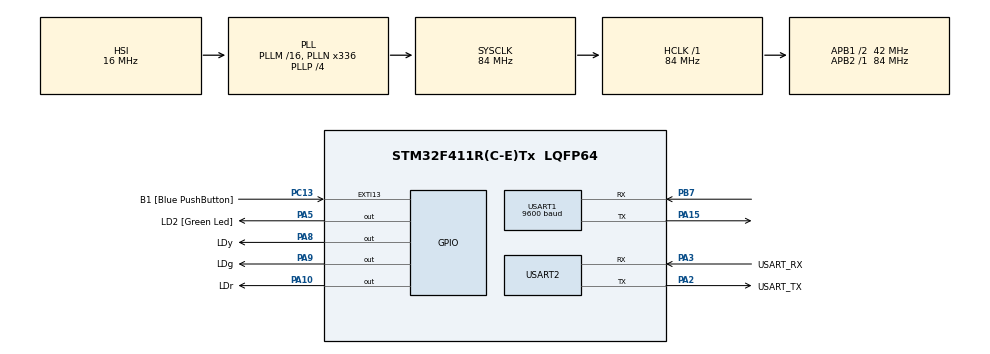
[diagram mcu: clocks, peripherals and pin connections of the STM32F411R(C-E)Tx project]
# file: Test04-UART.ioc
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Dma.Request0=USART2_RX
Dma.USART2_RX.0.Direction=DMA_PERIPH_TO_MEMORY
Dma.USART2_RX.0.FIFOMode=DMA_FIFOMODE_DISABLE
Dma.USART2_RX.0.Instance=DMA1_Stream5
Dma.USART2_RX.0.MemDataAlignment=DMA_MDATAALIGN_BYTE
Dma.USART2_RX.0.MemInc=DMA_MINC_ENABLE
Dma.USART2_RX.0.Mode=DMA_CIRCULAR
Dma.USART2_RX.0.PeriphDataAlignment=DMA_PDATAALIGN_BYTE
Dma.USART2_RX.0.PeriphInc=DMA_PINC_DISABLE
Dma.USART2_RX.0.Priority=DMA_PRIORITY_LOW
Mcu.Family=STM32F4
Mcu.Name=STM32F411R(C-E)Tx
Mcu.Package=LQFP64
NVIC.DMA1_Stream5_IRQn=true\:0\:0\:false\:false\:true\:false\:true\:true
NVIC.EXTI15_10_IRQn=true\:0\:0\:false\:false\:true\:true\:true\:true
NVIC.PriorityGroup=NVIC_PRIORITYGROUP_4
NVIC.TIM3_IRQn=true\:0\:0\:false\:false\:true\:true\:true\:true
NVIC.USART1_IRQn=true\:0\:0\:false\:false\:true\:true\:true\:true
NVIC.USART2_IRQn=true\:0\:0\:false\:false\:true\:true\:true\:true
PA10.GPIO_Label=LDr
PA10.Signal=GPIO_Output
PA13.GPIO_Label=TMS
PA13.Mode=Serial_Wire
PA13.Signal=SYS_JTMS-SWDIO
PA14.GPIO_Label=TCK
PA14.Mode=Serial_Wire
PA14.Signal=SYS_JTCK-SWCLK
PA15.Mode=Asynchronous
PA15.Signal=USART1_TX
PA2.GPIO_Label=USART_TX
PA2.Mode=Asynchronous
PA2.Signal=USART2_TX
PA3.GPIO_Label=USART_RX
PA3.Mode=Asynchronous
PA3.Signal=USART2_RX
PA5.GPIO_Label=LD2 [Green Led]
PA5.Signal=GPIO_Output
PA8.GPIO_Label=LDy
PA8.Signal=GPIO_Output
PA9.GPIO_Label=LDg
PA9.Signal=GPIO_Output
PB3.GPIO_Label=SWO
PB3.Signal=SYS_JTDO-SWO
PB7.Mode=Asynchronous
PB7.Signal=USART1_RX
PC13-ANTI_TAMP.GPIO_Label=B1 [Blue PushButton]
PC13-ANTI_TAMP.GPIO_ModeDefaultEXTI=GPIO_MODE_IT_FALLING
PC13-ANTI_TAMP.Signal=GPXTI13
PC14-OSC32_IN.Mode=LSE-External-Oscillator
PC14-OSC32_IN.Signal=RCC_OSC32_IN
PC15-OSC32_OUT.Mode=LSE-External-Oscillator
PC15-OSC32_OUT.Signal=RCC_OSC32_OUT
PH0\ -\ OSC_IN.Mode=HSE-External-Clock-Source
PH0\ -\ OSC_IN.Signal=RCC_OSC_IN
PH1\ -\ OSC_OUT.Mode=HSE-External-Clock-Source
PH1\ -\ OSC_OUT.Signal=RCC_OSC_OUT
ProjectManager.HeapSize=0x200
ProjectManager.StackSize=0x400
ProjectManager.TargetToolchain=STM32CubeIDE
RCC.48MHZClocksFreq_Value=84000000
RCC.AHBFreq_Value=84000000
RCC.APB1CLKDivider=RCC_HCLK_DIV2
RCC.APB1Freq_Value=42000000
RCC.APB1TimFreq_Value=84000000
RCC.APB2Freq_Value=84000000
RCC.APB2TimFreq_Value=84000000
RCC.CortexFreq_Value=84000000
RCC.FLatency-AdvancedSettings=FLASH_LATENCY_2
RCC.HCLKFreq_Value=84000000
RCC.HSE_VALUE=8000000
RCC.HSI_VALUE=16000000
RCC.PLLN=336
RCC.PLLP=RCC_PLLP_DIV4
RCC.SYSCLKFreq_VALUE=84000000
RCC.SYSCLKSource=RCC_SYSCLKSOURCE_PLLCLK
RCC.VCOOutputFreq_Value=336000000
TIM3.Period=10000-1
TIM3.Prescaler=8400-1
USART1.BaudRate=9600
USART1.VirtualMode=VM_ASYNC
USART2.VirtualMode=VM_ASYNC
VP_TIM3_VS_ClockSourceINT.Mode=Internal
board=NUCLEO-F411RE

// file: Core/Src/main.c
/* USER CODE BEGIN Header */
/** 깃허브 파일 확인
  ******************************************************************************
  * @file           : main.c
  * @brief          : HAMAN
  ******************************************************************************
  * @attention
  *
  * Copyright (c) 2023 STMicroelectronics.
  * All rights reserved.
  *
  * This software is licensed under terms that can be found in the LICENSE file
  * in the root directory of this software component.
  * If no LICENSE file comes with this software, it is provided AS-IS.
  *
  ******************************************************************************
  */
/* USER CODE END Header */
#include "main.h"

/* USER CODE BEGIN PD */
#define RX_BUF_SIZE  40
/* USER CODE END PD */

TIM_HandleTypeDef htim3;

UART_HandleTypeDef huart1;
UART_HandleTypeDef huart2;
DMA_HandleTypeDef hdma_usart2_rx;

void SystemClock_Config(void);
static void MX_GPIO_Init(void);
static void MX_DMA_Init(void);
static void MX_USART2_UART_Init(void);
static void MX_USART1_UART_Init(void);
static void MX_TIM3_Init(void);

/* USER CODE BEGIN 0 */
int __io_putchar(int ch)  // printf
{
    HAL_UART_Transmit(&huart2, &ch, 1, 10);
    return ch;
}
int __io_getchar(void)  // console input (scanf)
{
    char ch = 0;

    //while(HAL_UART_Receive(&huart2, &ch, 1, 10) != HAL_OK);
    while(1)
    {
        HAL_StatusTypeDef r = HAL_UART_Receive(&huart2, &ch, 1, 10);
        if(r == HAL_OK) break;
    }
    HAL_UART_Transmit(&huart2, &ch, 1, 10);  // echo
    return ch;
}
int scanfEx1(int *k)  // INT VALUE
{
    unsigned char buf[10], c;
    int idx = 0;

    while(1)
    {
        c = __io_getchar();
        if(c == 0x0d) break;
        if(c < '0' || c > '9') break;
        if(idx > 9) break;
        buf[idx++] = c;
    }
    buf[idx] = 0;
    *k = atoi(buf);
    return 1;
}
int GetKey()  // interface function
{
    return __io_getchar();
}
char rxBuf1[RX_BUF_SIZE], rx;  //UART1
char rxBuf2[RX_BUF_SIZE];      //UART2
char dmaBuf[RX_BUF_SIZE];
int  head = 0, tail = 0;
int  rxIdx1 = 0 ,rxIdx2=0;
int op = -1; // 0 ~ 3 : NULL ,CR ,CRLF ,LFCR
char *EL[] = { "\0" ,"\r" ,"\r\n" ,"\n\r" };

char * GetDmaData() // uart2
{
    int len = 0;
    tail = RX_BUF_SIZE - huart2.hdmarx->Instance->NDTR;

    if(head == tail) return 0;
    if(tail > head)
    {
        memcpy(dmaBuf, rxBuf2 + head, tail - head); len = tail - head;
    }
    else // tail < head
    {
        memcpy(dmaBuf, rxBuf2 + head, RX_BUF_SIZE - head);
        memcpy(dmaBuf + RX_BUF_SIZE - head, rxBuf2, tail);
        len = RX_BUF_SIZE - head + tail;
    }
    dmaBuf[len] = 0;
    head = tail;
    return dmaBuf;
}

void HAL_UART_RxCpltCallback(UART_HandleTypeDef *huart)
{
    if(huart == &huart1)
    {
        rxBuf1[rxIdx1++] = rx;
        if(rx == '\0' || rx == '\r' || rx == '\n')
        {
          HAL_UART_Transmit(&huart2, rxBuf1, rxIdx1, 10);
          HAL_UART_Transmit(&huart2, "\r\n", 2, 10);            //putty display out
          rxIdx1 = 0;
        }
    }
    else if(huart == &huart2)
    {
        rxBuf2[rxIdx2++] = rx;
        if(rx == '\0' || rx == '\r' || rx == '\n') //BT > AT ??
        {
          if(strncmp(rxBuf2 ,"BT>" ,3) == 0)
          {
            HAL_UART_Transmit(&huart1, rxBuf2 + 3, rxIdx2 - 4 ,10);
            if(op>0) HAL_UART_Transmit(&huart1, EL[op], strlen(EL[op]), 10);
            HAL_UART_Transmit(&huart2, rxBuf2 + 3, rxIdx2 - 4 ,10);
            HAL_UART_Transmit(&huart2, "\r\n",2, 10);
          }
          else
          {
            HAL_UART_Transmit(&huart2, rxBuf2 + 3, rxIdx2 - 4 ,10);
            HAL_UART_Transmit(&huart2, "\r\n", 2, 10);
          }
          rxIdx2 = 0;
        }
    }
     HAL_UART_Receive_IT(huart, &rx, 1);
}
void HAL_TIM_PeriodElapsedCallback(TIM_HandleTypeDef *htim)
{
      //char *str = GetDmaData();  // str = NULL, if no data
      if(rxIdx1)
      {
          printf("%s\r\n", rxBuf1); rxIdx1 = 0;
      }
}

void HAL_GPIO_EXTI_Callback(uint16_t GPIO_Pin)
{
    if(GPIO_Pin == B1_Pin)
    {
      char *str = GetDmaData();  // str = NULL, if no data
      if(str)
      {
          printf("[Receive Buffer] %s\r\n", rxBuf2);
          printf("[Receive String] %s\r\n\n", str);
      }
    }
}

void LED_CONTROL()
{
      int k = GetKey();
      switch(k)
      {
      case 'r':
      case 'R':
          HAL_GPIO_WritePin(LDr_GPIO_Port, LDr_Pin, 1); HAL_Delay(200);
          HAL_GPIO_WritePin(LDr_GPIO_Port, LDr_Pin, 0); HAL_Delay(200);
          break;
      case 'g':
      case 'G':
          HAL_GPIO_WritePin(LDg_GPIO_Port, LDg_Pin, 1); HAL_Delay(200);
          HAL_GPIO_WritePin(LDg_GPIO_Port, LDg_Pin, 0); HAL_Delay(200);
          break;
      case 'y':
      case 'Y':
          HAL_GPIO_WritePin(LDy_GPIO_Port, LDy_Pin, 1); HAL_Delay(200);
          HAL_GPIO_WritePin(LDy_GPIO_Port, LDy_Pin, 0); HAL_Delay(200);
          break;
      default:
          break;
      }
}
/* USER CODE END 0 */

int main(void)
{

  /* MCU Configuration--------------------------------------------------------*/

  /* Reset of all peripherals, Initializes the Flash interface and the Systick. */
  HAL_Init();

  /* Configure the system clock */
  SystemClock_Config();

  /* Initialize all configured peripherals */
  MX_GPIO_Init();
  MX_DMA_Init();
  MX_USART2_UART_Init();
  MX_USART1_UART_Init();
  MX_TIM3_Init();
  /* USER CODE BEGIN 2 */

  printf("\033[1J\033[1;1HUART Program Started....\r\n");
  while(1)
  {
      printf("Input End-Line option\r\n");
      printf("  '0' : NULL\r\n");
      printf("  '1' : CR\r\n");
      printf("  '2' : CRLF\r\n");
      printf("  '3' : LFCR\r\n");

      scanfEx1(&op);
      if(op >= 0 && op < 4) break;
  }
  printf("OK....%d\r\n",op);

  HAL_TIM_Base_Start_IT(&htim3);
  //HAL_UART_Receive_DMA(&huart2, rxBuf, RX_BUF_SIZE);
  HAL_UART_Receive_IT(&huart2, &rx, 1);
  HAL_UART_Receive_IT(&huart1, &rx, 1);
  /* USER CODE END 2 */

  /* Infinite loop */
  while (1)
  {

    /* USER CODE BEGIN 3 */
    // LED_CONTROL();  // LED Toggle by KBD
    //  if(rxIdx)
    //  {
    //    rxBuf[rxIdx] = 0;
    //    printf("[Received String] %s\r\n", rxBuf);
    //    rxIdx = 0;
    //  }
  }
  /* USER CODE END 3 */
}

void SystemClock_Config(void)
{
  RCC_OscInitTypeDef RCC_OscInitStruct = {0};
  RCC_ClkInitTypeDef RCC_ClkInitStruct = {0};

  /** Configure the main internal regulator output voltage
  */
  __HAL_RCC_PWR_CLK_ENABLE();
  __HAL_PWR_VOLTAGESCALING_CONFIG(PWR_REGULATOR_VOLTAGE_SCALE1);

  /** Initializes the RCC Oscillators according to the specified parameters
  * in the RCC_OscInitTypeDef structure.
  */
  RCC_OscInitStruct.OscillatorType = RCC_OSCILLATORTYPE_HSI;
  RCC_OscInitStruct.HSIState = RCC_HSI_ON;
  RCC_OscInitStruct.HSICalibrationValue = RCC_HSICALIBRATION_DEFAULT;
  RCC_OscInitStruct.PLL.PLLState = RCC_PLL_ON;
  RCC_OscInitStruct.PLL.PLLSource = RCC_PLLSOURCE_HSI;
  RCC_OscInitStruct.PLL.PLLM = 16;
  RCC_OscInitStruct.PLL.PLLN = 336;
  RCC_OscInitStruct.PLL.PLLP = RCC_PLLP_DIV4;
  RCC_OscInitStruct.PLL.PLLQ = 4;
  if (HAL_RCC_OscConfig(&RCC_OscInitStruct) != HAL_OK)
  {
    Error_Handler();
  }

  /** Initializes the CPU, AHB and APB buses clocks
  */
  RCC_ClkInitStruct.ClockType = RCC_CLOCKTYPE_HCLK|RCC_CLOCKTYPE_SYSCLK
                              |RCC_CLOCKTYPE_PCLK1|RCC_CLOCKTYPE_PCLK2;
  RCC_ClkInitStruct.SYSCLKSource = RCC_SYSCLKSOURCE_PLLCLK;
  RCC_ClkInitStruct.AHBCLKDivider = RCC_SYSCLK_DIV1;
  RCC_ClkInitStruct.APB1CLKDivider = RCC_HCLK_DIV2;
  RCC_ClkInitStruct.APB2CLKDivider = RCC_HCLK_DIV1;

  if (HAL_RCC_ClockConfig(&RCC_ClkInitStruct, FLASH_LATENCY_2) != HAL_OK)
  {
    Error_Handler();
  }
}

static void MX_TIM3_Init(void)
{

  TIM_ClockConfigTypeDef sClockSourceConfig = {0};
  TIM_MasterConfigTypeDef sMasterConfig = {0};

  htim3.Instance = TIM3;
  htim3.Init.Prescaler = 8400-1;
  htim3.Init.CounterMode = TIM_COUNTERMODE_UP;
  htim3.Init.Period = 10000-1;
  htim3.Init.ClockDivision = TIM_CLOCKDIVISION_DIV1;
  htim3.Init.AutoReloadPreload = TIM_AUTORELOAD_PRELOAD_DISABLE;
  if (HAL_TIM_Base_Init(&htim3) != HAL_OK)
  {
    Error_Handler();
  }
  sClockSourceConfig.ClockSource = TIM_CLOCKSOURCE_INTERNAL;
  if (HAL_TIM_ConfigClockSource(&htim3, &sClockSourceConfig) != HAL_OK)
  {
    Error_Handler();
  }
  sMasterConfig.MasterOutputTrigger = TIM_TRGO_RESET;
  sMasterConfig.MasterSlaveMode = TIM_MASTERSLAVEMODE_DISABLE;
  if (HAL_TIMEx_MasterConfigSynchronization(&htim3, &sMasterConfig) != HAL_OK)
  {
    Error_Handler();
  }

}

static void MX_USART1_UART_Init(void)
{

  huart1.Instance = USART1;
  huart1.Init.BaudRate = 9600;
  huart1.Init.WordLength = UART_WORDLENGTH_8B;
  huart1.Init.StopBits = UART_STOPBITS_1;
  huart1.Init.Parity = UART_PARITY_NONE;
  huart1.Init.Mode = UART_MODE_TX_RX;
  huart1.Init.HwFlowCtl = UART_HWCONTROL_NONE;
  huart1.Init.OverSampling = UART_OVERSAMPLING_16;
  if (HAL_UART_Init(&huart1) != HAL_OK)
  {
    Error_Handler();
  }

}

static void MX_USART2_UART_Init(void)
{

  huart2.Instance = USART2;
  huart2.Init.BaudRate = 115200;
  huart2.Init.WordLength = UART_WORDLENGTH_8B;
  huart2.Init.StopBits = UART_STOPBITS_1;
  huart2.Init.Parity = UART_PARITY_NONE;
  huart2.Init.Mode = UART_MODE_TX_RX;
  huart2.Init.HwFlowCtl = UART_HWCONTROL_NONE;
  huart2.Init.OverSampling = UART_OVERSAMPLING_16;
  if (HAL_UART_Init(&huart2) != HAL_OK)
  {
    Error_Handler();
  }

}

static void MX_DMA_Init(void)
{

  /* DMA controller clock enable */
  __HAL_RCC_DMA1_CLK_ENABLE();

  /* DMA interrupt init */
  /* DMA1_Stream5_IRQn interrupt configuration */
  HAL_NVIC_SetPriority(DMA1_Stream5_IRQn, 0, 0);
  HAL_NVIC_EnableIRQ(DMA1_Stream5_IRQn);

}

static void MX_GPIO_Init(void)
{
  GPIO_InitTypeDef GPIO_InitStruct = {0};

  /* GPIO Ports Clock Enable */
  __HAL_RCC_GPIOC_CLK_ENABLE();
  __HAL_RCC_GPIOH_CLK_ENABLE();
  __HAL_RCC_GPIOA_CLK_ENABLE();
  __HAL_RCC_GPIOB_CLK_ENABLE();

  /*Configure GPIO pin Output Level */
  HAL_GPIO_WritePin(GPIOA, LD2_Pin|LDy_Pin|LDg_Pin|LDr_Pin, GPIO_PIN_RESET);

  /*Configure GPIO pin : B1_Pin */
  GPIO_InitStruct.Pin = B1_Pin;
  GPIO_InitStruct.Mode = GPIO_MODE_IT_FALLING;
  GPIO_InitStruct.Pull = GPIO_NOPULL;
  HAL_GPIO_Init(B1_GPIO_Port, &GPIO_InitStruct);

  /*Configure GPIO pins : LD2_Pin LDy_Pin LDg_Pin LDr_Pin */
  GPIO_InitStruct.Pin = LD2_Pin|LDy_Pin|LDg_Pin|LDr_Pin;
  GPIO_InitStruct.Mode = GPIO_MODE_OUTPUT_PP;
  GPIO_InitStruct.Pull = GPIO_NOPULL;
  GPIO_InitStruct.Speed = GPIO_SPEED_FREQ_LOW;
  HAL_GPIO_Init(GPIOA, &GPIO_InitStruct);

  /* EXTI interrupt init*/
  HAL_NVIC_SetPriority(EXTI15_10_IRQn, 0, 0);
  HAL_NVIC_EnableIRQ(EXTI15_10_IRQn);

}

void Error_Handler(void)
{
  __disable_irq();
  while (1)
  {
  }
}
